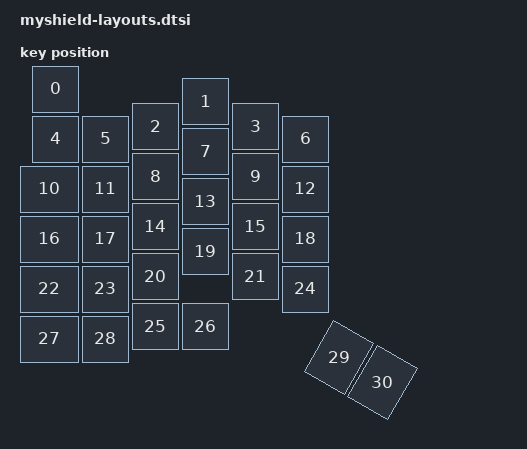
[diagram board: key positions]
#include <physical_layouts.dtsi>

/ {
    physical_layout0: myshield_layout {
        compatible = "zmk,physical-layout";
        display-name = "LAYOUT";

        kscan = <&kscan0>;
        transform = <&matrix_transform0>;

        keys  //                     w   h    x    y     rot    rx    ry
            = <&key_physical_attrs 100 100   25    0       0     0     0>
            , <&key_physical_attrs 100 100  325   25       0     0     0>
            , <&key_physical_attrs 100 100  225   75       0     0     0>
            , <&key_physical_attrs 100 100  425   75       0     0     0>
            , <&key_physical_attrs 100 100   25  100       0     0     0>
            , <&key_physical_attrs 100 100  125  100       0     0     0>
            , <&key_physical_attrs 100 100  525  100       0     0     0>
            , <&key_physical_attrs 100 100  325  125       0     0     0>
            , <&key_physical_attrs 100 100  225  175       0     0     0>
            , <&key_physical_attrs 100 100  425  175       0     0     0>
            , <&key_physical_attrs 125 100    0  200       0     0     0>
            , <&key_physical_attrs 100 100  125  200       0     0     0>
            , <&key_physical_attrs 100 100  525  200       0     0     0>
            , <&key_physical_attrs 100 100  325  225       0     0     0>
            , <&key_physical_attrs 100 100  225  275       0     0     0>
            , <&key_physical_attrs 100 100  425  275       0     0     0>
            , <&key_physical_attrs 125 100    0  300       0     0     0>
            , <&key_physical_attrs 100 100  125  300       0     0     0>
            , <&key_physical_attrs 100 100  525  300       0     0     0>
            , <&key_physical_attrs 100 100  325  325       0     0     0>
            , <&key_physical_attrs 100 100  225  375       0     0     0>
            , <&key_physical_attrs 100 100  425  375       0     0     0>
            , <&key_physical_attrs 125 100    0  400       0     0     0>
            , <&key_physical_attrs 100 100  125  400       0     0     0>
            , <&key_physical_attrs 100 100  525  400       0     0     0>
            , <&key_physical_attrs 100 100  225  475       0     0     0>
            , <&key_physical_attrs 100 100  325  475       0     0     0>
            , <&key_physical_attrs 125 100    0  500       0     0     0>
            , <&key_physical_attrs 100 100  125  500       0     0     0>
            , <&key_physical_attrs 100 125  800  125    3000     0     0>
            , <&key_physical_attrs 100 125  900  125    3000     0     0>
            ;
    };
};
